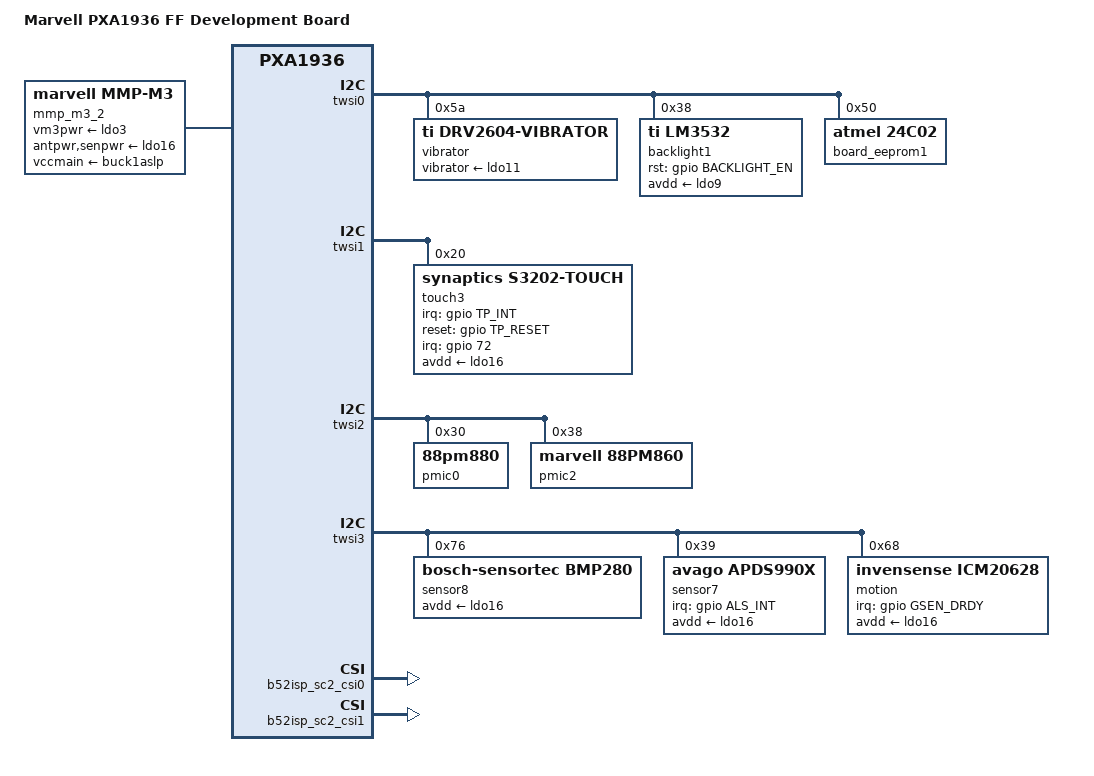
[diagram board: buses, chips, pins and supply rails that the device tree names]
/*
 *  Copyright (C) 2014 Marvell Technology Group Ltd.
 *  Author: Yoav Gvili <ygvili@marvell.com>
 *
 *  This program is free software; you can redistribute it and/or modify
 *  it under the terms of the GNU General Public License version 2 as
 *  publishhed by the Free Software Foundation.
 */

#define GPIO(n)		GPIO##n AF0

#define TP_INT			72
#define TP_RESET		75
#define BACKLIGHT_EN	32

#define CAM_MAIN_PWDN_N		68
#define CAM1_RST_N			67

#define CF_MASK				19
#define CF_EN				124

#define ALS_INT				20
#define KEY_MENU	139	/* Menu (show menu) */
#define KEY_HOMEPAGE	172	/* AC Home */
#define KEY_BACK	158	/* AC Back */

#define GSEN_DRDY	91

/* lm35352 definitions */
#define LM3532_ILED1_FB_EN		(1 << 0)
#define LM3532_ILED2_FB_EN		(1 << 1)
#define LM3532_CTRL_A_ZONE_0_PWM_EN	(1 << 2)
#define LM3532_CTRL_A_PWM_POL_ACT_HIGH	(1 << 1)
#define LM3532_CTRL_CURRENT_CTRL_I2C	(1 << 0)
#define LM3532_19p4mA_FS_CURRENT	0x12
#define LM3532_LINEAR_MAPPING		(1 << 1)
#define LM3532_OUTPUT_CONFIG_ILED3_A	((0x0 & 0x3) << 4)
#define LM3532_OUTPUT_CONFIG_ILED2_A	((0x0 & 0x3) << 2)
#define LM3532_OUTPUT_CONFIG_ILED1_A	((0x0 & 0x3) << 0)
#define LM3532_OUTPUT_CONFIG	(LM3532_OUTPUT_CONFIG_ILED3_A | LM3532_OUTPUT_CONFIG_ILED2_A | LM3532_OUTPUT_CONFIG_ILED1_A)

/dts-v1/;
#include "pxa1936-board-common.dtsi"

&pmx {
	apds990x_pins: pinmux_apds990x_pins {
		/*pinctrl-single,pins = <GPIO(ALS_INT)>;*/
		pinctrl-single,pins = <GPIO20 AF0>;
		MFP_PULL_UP;
	};
	motion_sensor_pins: pinmux_motion_sensor_pins {
		/* pinctrl-single,pins = <GPIO(GSEN_DRDY)>;*/
		pinctrl-single,pins = <GPIO91 AF0>;
		MFP_PULL_LOW;
	};
};

/ {
	model = "Marvell PXA1936 FF Development Board";
	compatible = "marvell,pxa1936-ff", "marvell,pxa1936";
	soc {
		apb@d4000000 {
			keypanic2 {
				compatible = "marvell,keyreset";
				/* 74- onkey, 72- volume-down */
				keys-down = <0x74 0x72>;
				keyreset-need-panic;
				status = "okay";
				keyreset-press-msec = <2000>;
			};

			twsi0: i2c@d4011000 {
				vibrator: vibrator@5a {
					compatible = "ti,drv2604-vibrator";
					reg = <0x5a>;
					vibrator-supply = <&ldo11>;
				};
				backlight1: lm3532@38 {
					compatible = "ti,lm3532";
					reg = <0x38>;
					flags = <0>;
					ramp_time = <0>;
					ctrl_a_fs_current = <
						LM3532_19p4mA_FS_CURRENT>;
					ctrl_a_current_ctrl = <
						LM3532_CTRL_CURRENT_CTRL_I2C>;
					ctrl_a_mapping_mode = <LM3532_LINEAR_MAPPING>;
					ctrl_a_pwm = <
						(LM3532_CTRL_A_ZONE_0_PWM_EN |
						 LM3532_CTRL_A_PWM_POL_ACT_HIGH)>;
					rst_gpio = <&gpio BACKLIGHT_EN 0>;
					/*
					 * set ldo9 , since driver requires an
					 * ldo/buck and the driver.
					 * set it value to 2.8V.
					 * ldo9 is always ON.
					 */
					avdd-supply = <&ldo9>;
					feedback_en_val = <
						(LM3532_ILED1_FB_EN | LM3532_ILED2_FB_EN)>;
					output_cfg_val = <
						LM3532_OUTPUT_CONFIG>;
				};
				board_eeprom1:24aa025t@50 {
					compatible = "atmel,24c02";
					reg = <0x50>;
				};

			};

			twsi1: i2c@d4010800 {
				/* ToDo: Need to remove from common file disable items in DTS */
				touch1: s3202@720p{
					status = "disabled";
				};

				/* ToDo: Need to remove from common file disable items in DTS */
				touch2: s3202@1080p{
					status = "disabled";
				};

				/* touch screen */
				touch3: s3202@20 {
					compatible = "synaptics,s3202-touch";
					pinctrl-names = "default"; pinctrl-0 = <&touch_pins>;
					reg = <0x20>;
					interrupt-parent = <&gpio>;
					interrupts = <72 0x1>;
					/* IRQF_ONESHOT | IRQF_TRIGGER_FALLING */
					synaptics,irq-flags =  <0x2002>;
					synaptics,irq-gpios = <&gpio TP_INT 0>;
					synaptics,reset-gpios = <&gpio TP_RESET 0>;
					synaptics,sensor_res_x = <1080>;
					synaptics,sensor_res_y = <1920>;
					synaptics,sensor_max_x = <1080>;
					synaptics,sensor_max_y = <1920>;
					synaptics,sensor_margin_x = <0>;
					synaptics,sensor_margin_y = <0>;
					avdd-supply = <&ldo16>;
					synaptics,button_maps = /bits/ 8 <KEY_MENU KEY_HOMEPAGE KEY_BACK>;
					synaptics,num_button = <3>;
				};
			};

			twsi2: i2c@d4037000 {
				status = "okay";

				pmic0: 88pm880@30 {
					reg = <0x30>;
					interrupts = <0 4 IRQ_TYPE_LEVEL_HIGH>;
					interrupt-parent = <&gic>;

					onkey {
						onkey-gpio-number = <1>;
						/* hardware reset: just reset */
						hw-rst-type = <1>;
						/* long onkey: power down */
						long-onkey-type = <1>;
					};

					vbus {
						vbus-gpio = <0xff>;
						id-gpadc = <3>;
					};

					dvc {
						pinctrl-names = "default";
						pinctrl-0 = <&dvc_pmx_func>;
					};

					/*
					 * TODO: remove later, fake ldo,
					 * to pass compile
					 */
					ldo19: regulator-ldo19 {
					};
				};

				pmic2: 88pm880@38 {
					compatible = "marvell,88pm860";
					reg = <0x38>;
					marvell,pmic-type = <1>;
					/* no codec_int currently, comment out now */
					/*
					interrupt-parent = <&gpio>;
					interrupts = <124 0x1>;
					marvell,88pm805-irq-write-clear;
					*/
					pm860_codec: pm860_codec {
						compatible = "marvell,88pm860-codec";
						#dailink-cells = <1>;
					};
				};
			};

			twsi3: i2c@d4013800 {
				sensor8: bmp280@76 {
					compatible = "bosch-sensortec,bmp280";
					reg = <0x76>;
					avdd-supply = <&ldo16>;
					status = "okay";
				};
				sensor7: apds990x@39 {
					pinctrl-names = "default"; pinctrl-0 = <&apds990x_pins>;
					compatible = "avago,apds990x";
					reg = <0x39>;
					interrupt-parent = <&gpio>;
					interrupts = <ALS_INT 0x1>;
					irq-gpios = <&gpio ALS_INT 0>;
					avdd-supply = <&ldo16>;
				};
				motion: icm20628@68 {
						pinctrl-names = "default"; pinctrl-0 = <&motion_sensor_pins>;
						compatible = "invensense,icm20628";
						reg = <0x68>;
						interrupt-parent = <&gpio>;
						interrupts = <GSEN_DRDY 0x1>;
						inven,irq-gpios = <&gpio GSEN_DRDY 0x00>;
						avdd-supply = <&ldo16>;
						axis_map_x = <0>;
						negate_x = <0>;
						axis_map_y = <1>;
						negate_y = <0>;
						axis_map_z = <2>;
						negate_z = <0>;
						inven,secondary_axis_map_x = <0>;
						inven,secondary_negate_x = <0>;
						inven,secondary_axis_map_y = <1>;
						inven,secondary_negate_y = <0>;
						inven,secondary_axis_map_z = <2>;
						inven,secondary_negate_z = <0>;
						inven,secondary_type = "compass";
						inven,secondary_name = "ak09911";
						inven,secondary_reg = <0x0c>;
				};

			};
			map@d1200000 {
				pmic-name = "88pm880";
				vccmain-supply = <&buck1aslp>;
				sleep_vol = <975000>;
			};

		};

		axi@d4200000 {  /* AXI */
			/* SD card */
			sdh0: sdh@d4280000 {
				vqmmc-supply	= <&ldo10>;
				vmmc-supply	= <&ldo14>;
			};
		};

		/* sensors */
		/* gps */
		/* camera */
	};

	panel1: r63311 {
		marvell,mipi-backlight;
		power_gpio = <&gpio 96 0>;
		rst_gpio = <&gpio 98 0>;
		mipi-backlight-max_brightness = <97>;
		mipi-backlight-min_brightness = <1>;
		iovdd-supply = <&ldo5>;
	};

	/* virtual keypad backlight */
	keypad-bl {
		compatible = "regulator-leds";
		vled-supply = <&ldo6>;
		status = "okay";
	};

	mcam0:mcam@0 {
		sc2-i2c-dyn-ctrl;
		pwdn-gpios = <&gpio 68 0>;
		reset-gpios = <&gpio 67 0>;
		/*
		af_2v8-supply = <&ldo8>;
		avdd_2v8-supply = <&ldo7>;
		dovdd_1v8-supply = <&buck2>;
		dvdd_1v2-supply = <&buck3>;
		*/
		dphy_val = <0xff1d00 0x00024733 0x04001001>;
		status = "disabled";
	};

	mcam1:mcam@1 {
		sc2-i2c-dyn-ctrl;
		pwdn-gpios = <&gpio 70 0>;

		af_2v8-supply = <&ldo8>;
		avdd_2v8-supply = <&ldo7>;
		dovdd_1v8-supply = <&buck2>;
		dvdd_1v2-supply = <&buck3>;

		dphy_val = <0xff1d00 0x00024733 0x04001001>;
		status = "disabled";
	};

	soc-camera@0 {
		status = "disabled";
	};

	soc-camera@1 {
		status = "disabled";
	};

	plat_cam {
		status = "okay";
		frontsensor {
			compatible = "marvell,frontsensor";
			#address-cells = <1>;
			#size-cells = <0>;
			status = "okay";
			OV2680f: sensor@0 {
				compatible = "ovt,ov2680";
				status = "okay";
				clocks = <&soc_clocks PXA1936_CLK_SC2_MCLK>;
				clock-names =  "SC2MCLK";
				reg = <0x36>;
				sc2-i2c-dyn-ctrl;
				adapter = <0x1>;
				sensor-pos = <1>;
				mclk = <26000000>;
				dphy3 = <0x1900>;
				dphy5 = <0x4711>;
				dphy6 = <0x1001>;
				af_2v8-supply = <&ldo8>;
				avdd_2v8-supply = <&ldo7>;
				dovdd_1v8-supply = <&buck2>;
				dvdd_1v2-supply = <&buck3>;
				pwdn-gpios = <&gpio 70 1>;
				reset-gpios = <&gpio 69 1>;
			};
		};
		backsensor {
			/* ToDo: Need to remove from common file disable items in DTS */

			compatible = "marvell,backsensor";
			#address-cells = <1>;
			#size-cells = <0>;
			status = "okay";

			OV13850: sensor@1 {
				compatible = "ovt,ov13850";
				status = "okay";
				reg = <0x10>;
				clocks = <&soc_clocks PXA1936_CLK_SC2_MCLK>;
				clock-names = "SC2MCLK";
				sc2-i2c-dyn-ctrl;
				adapter = <0x1>;
				sensor-pos = <1>;
				mclk = <24000000>;
				dphy3 = <0xff4115>;
				dphy5 = <0x247ff>;
				dphy6 = <0x4001001>;
				af_2v8-supply = <&ldo8>;
				avdd_2v8-supply = <&ldo7>;
				dovdd_1v8-supply = <&buck2>;
				dvdd_1v2-supply = <&ldo19>;
				pwdn-gpios = <&gpio 68 1>;
				reset-gpios = <&gpio 67 1>;
			};

			OV13850R2A: sensor@2 {
				compatible = "ovt,ov13850r2a";
				sc2-i2c-dyn-ctrl;
				reg = <0x10>;
				clocks = <&soc_clocks PXA1936_CLK_SC2_MCLK>;
				clock-names = "SC2MCLK";
				adapter = <0x1>;
				status = "okay";
				sensor-pos = <1>;
				mclk = <24000000>;
				dphy3 = <0xff4116>;
				dphy5 = <0x247ff>;
				dphy6 = <0x4001001>;
				af_2v8-supply = <&ldo8>;
				avdd_2v8-supply = <&ldo7>;
				dovdd_1v8-supply = <&buck2>;
				dvdd_1v2-supply = <&buck3>;
				pwdn-gpios = <&gpio CAM_MAIN_PWDN_N 1>;
				reset-gpios = <&gpio CAM1_RST_N 1>;
			};
		};
	};

	/* SENSOR HUB */
	mmp_m3_2: cm3senhb {
		compatible = "marvell,mmp-m3";
		pmicver = <2>;
		/* 950000 for CM3 on, 800000 for CM3 off */
		vccmain = <950000 800000>;
		vm3pwr-supply = <&ldo3>;
		antpwr-supply = <&ldo16>;
		senpwr-supply = <&ldo16>;
		vccmain-supply = <&buck1aslp>;

		pinctrl-names = "default", "poweron";
		pinctrl-0 = <&gnss_pmx_def &twsi3_pmx_senhb_def &senhb_irq_pins_def>;
		pinctrl-1 = <&gnss_pmx_power_on &twsi3_pmx_senhb>;
		status = "okay";
	};


	b52isp_sc2_csi0 {
	        status = "okay";
	};
	b52isp_sc2_csi1 {
			csi_mux_repacked;
	        status = "okay";
	};
	b52isp_sc2_dma0 {
	        status = "okay";
	};
	b52isp_sc2_dma1 {
	        status = "okay";
	};

/* main node */
};

#include "88pm88x.dtsi"
#include "88pm880_pxa1936_ff.dtsi"
#include "88pm880.dtsi"
#include "88pm88x_battery_common.dtsi"
#include "88pm88x_battery_485760ar.dtsi"
